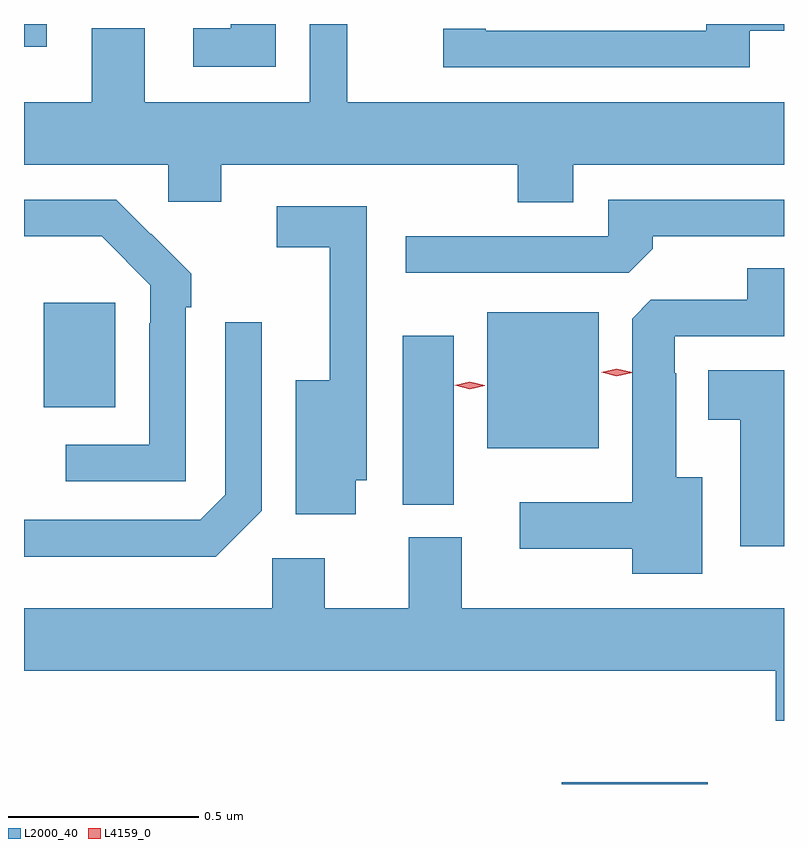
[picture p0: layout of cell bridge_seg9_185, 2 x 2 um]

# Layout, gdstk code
import gdstk
lib = gdstk.Library(unit=1e-6, precision=1e-09)
def R(c, l, rs):  # rectangles x0, y0, x1, y1
    for r in rs: c.add(gdstk.rectangle(r[:2], r[2:], *l))
def P(c, l, *ps):  # polygons
    for p in ps: c.add(gdstk.Polygon(p, *l))
L2000_40 = (2000, 40)
L4159_0 = (4159, 0)

bridge_seg9_185 = lib.new_cell('bridge_seg9_185')
R(bridge_seg9_185, L2000_40, [(139.806,1244.074,140.19,1244.079), (139.388,1244.809,139.522,1245.253), (139.61,1244.957,139.903,1245.316), (138.443,1245.065,138.631,1245.34), (138.391,1246.014,138.451,1246.074)])
P(bridge_seg9_185, L2000_40, [(139.837,1245.704),(140.391,1245.704),(140.391,1245.868),(139.242,1245.868),(139.242,1246.074),(139.143,1246.074),(139.143,1245.868),(138.709,1245.868),(138.709,1246.063),(138.569,1246.063),(138.569,1245.868),(138.391,1245.868),(138.391,1245.704),(138.771,1245.704),(138.771,1245.606),(138.91,1245.606),(138.91,1245.704),(139.69,1245.704),(139.69,1245.605),(139.837,1245.605)],
  [(139.054,1246.074),(138.935,1246.074),(138.935,1246.063),(138.837,1246.063),(138.837,1245.962),(139.054,1245.962)],
  [(140.301,1246.056),(140.391,1246.056),(140.391,1246.074),(140.186,1246.074),(140.186,1246.056),(139.606,1246.056),(139.606,1246.061),(139.494,1246.061),(139.494,1245.96),(140.301,1245.96)],
  [(138.816,1245.329),(138.831,1245.329),(138.831,1245.417),(138.726,1245.522),(138.725,1245.521),(138.634,1245.612),(138.391,1245.612),(138.391,1245.516),(138.595,1245.516),(138.723,1245.387),(138.723,1245.287),(138.72,1245.287),(138.72,1244.967),(138.501,1244.967),(138.501,1244.871),(138.816,1244.871)],
  [(140.045,1245.482),(140.045,1245.516),(140.391,1245.516),(140.391,1245.612),(139.929,1245.612),(139.929,1245.516),(139.395,1245.516),(139.395,1245.42),(139.983,1245.42)],
  [(139.264,1244.873),(139.293,1244.873),(139.293,1245.594),(139.056,1245.594),(139.056,1245.486),(139.196,1245.486),(139.196,1245.136),(139.106,1245.136),(139.106,1244.784),(139.264,1244.784)],
  [(140.176,1244.881),(140.107,1244.881),(140.107,1245.155),(140.103,1245.155),(140.103,1245.252),(140.391,1245.252),(140.391,1245.431),(140.294,1245.431),(140.294,1245.348),(140.04,1245.348),(139.991,1245.299),(139.991,1244.815),(139.695,1244.815),(139.695,1244.693),(139.991,1244.693),(139.991,1244.627),(140.176,1244.627)],
  [(139.017,1244.793),(139.017,1245.289),(138.921,1245.289),(138.921,1244.835),(138.855,1244.769),(138.391,1244.769),(138.391,1244.672),(138.896,1244.672)],
  [(140.391,1245.163),(140.192,1245.163),(140.192,1245.032),(140.276,1245.032),(140.276,1244.7),(140.391,1244.7)],
  [(140.391,1244.536),(139.543,1244.536),(139.543,1244.724),(139.403,1244.724),(139.403,1244.536),(139.183,1244.536),(139.183,1244.668),(139.044,1244.668),(139.044,1244.536),(138.391,1244.536),(138.391,1244.372),(140.369,1244.372),(140.369,1244.241),(140.391,1244.241)])
P(bridge_seg9_185, L4159_0, [(139.951,1245.147),(139.91,1245.157),(139.91,1245.158),(139.91,1245.158),(139.951,1245.167),(139.992,1245.157),(139.992,1245.157),(139.992,1245.156)],
  [(139.564,1245.113),(139.524,1245.123),(139.524,1245.124),(139.524,1245.124),(139.564,1245.133),(139.604,1245.123),(139.604,1245.123),(139.604,1245.122)])

lib.write_gds('bridge_seg9_185.gds')
